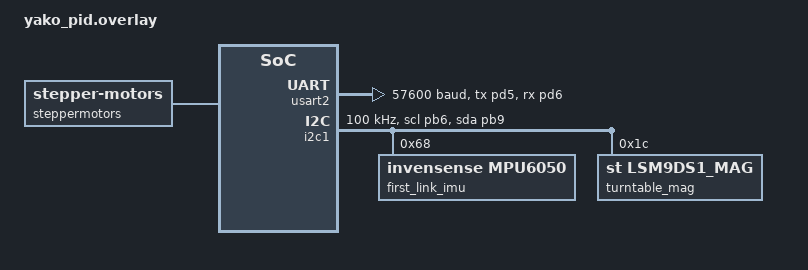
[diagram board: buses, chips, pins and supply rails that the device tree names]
/ {
	steppermotors {
		compatible = "stepper-motors";
		yako: yako {
			label = "First Link";
			dir-gpios = <&gpiob 7 GPIO_ACTIVE_LOW>;
			step-gpios = <&gpioc 0 GPIO_ACTIVE_LOW>;
		};
	};
	chosen {
		zephyr,console = &usart2;
		zephyr,shell-uart = &usart2;
	};
};

&usart2 {
	pinctrl-0 = <&usart2_tx_pd5 &usart2_rx_pd6>;
	pinctrl-names = "default";
	current-speed = <57600>;
	status = "okay";
};

&i2c1 {
	pinctrl-0 = <&i2c1_scl_pb6 &i2c1_sda_pb9>;
	pinctrl-names = "default";
	clock-frequency = <I2C_BITRATE_STANDARD>;
	status = "okay";
	first_link_imu: mpu6050@68 {
		compatible = "invensense,mpu6050";
		reg = <0x68>;
		status = "okay";
	};
	turntable_mag: lsm9ds1_mag@1c {
		compatible = "st,lsm9ds1_mag";
		reg = <0x1c>;
		status = "okay";
	};
};
